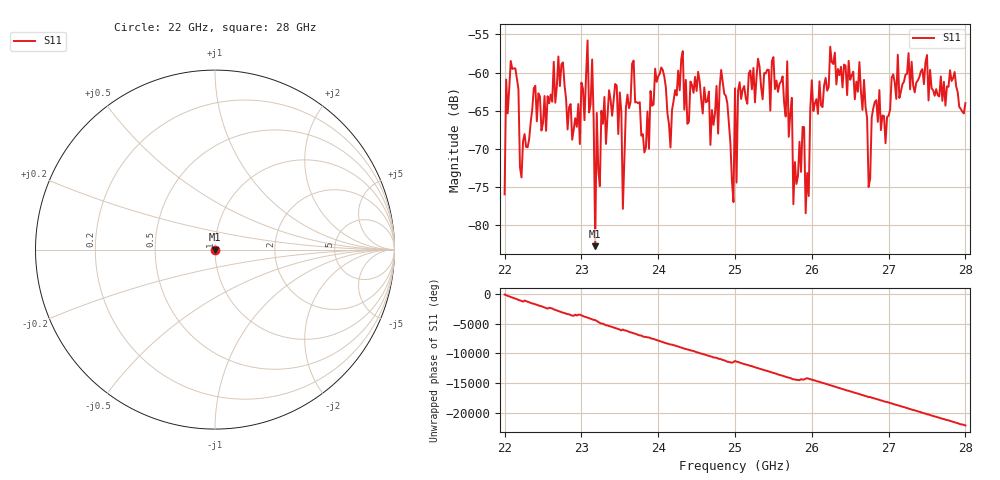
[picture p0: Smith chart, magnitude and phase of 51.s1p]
#  HZ  S  RI  R  50.00
! Rohde & Schwarz ZVA40 4Ports - Version 3.90 - 1145.1110k42 SN: 100403
! Date: 2023-10-04 11:25:20
! Measurement: S12
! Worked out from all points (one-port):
!   301 points, 22 GHz to 28 GHz, reference 50 ohm
!   lowest |S11| = -82.7 dB at 23.18 GHz (marker M1), VSWR 1.00, Z = 50 - j0.00695 ohm
!   |S11| at or under -10 dB: start of sweep to end of sweep
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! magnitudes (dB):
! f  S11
! 22 GHz  -75.9
! 22.02 GHz  -60.9
! 22.08 GHz  -58.5
! 22.22 GHz  -73.7
! 22.76 GHz  -58.7
! 22.98 GHz  -69.4
! 23.14 GHz  -58.3
! 23.18 GHz  -82.7
! 23.2 GHz  -65.3
! 23.5 GHz  -62.6
! 23.54 GHz  -77.8
! 23.66 GHz  -58.8
! 23.82 GHz  -70.5
! 24.26 GHz  -59.7
! 24.82 GHz  -59.7
! 24.98 GHz  -77.0
! 25 GHz  -62.1
! 25.02 GHz  -74.4
! 25.06 GHz  -61.3
! 25.68 GHz  -58.5
! 25.76 GHz  -77.2
! 25.96 GHz  -76.2
! 26 GHz  -61.0
! 26.5 GHz  -60.9
! 26.68 GHz  -61.0
! 26.74 GHz  -75.0
! 27.26 GHz  -57.5
! 28 GHz  -64.0
